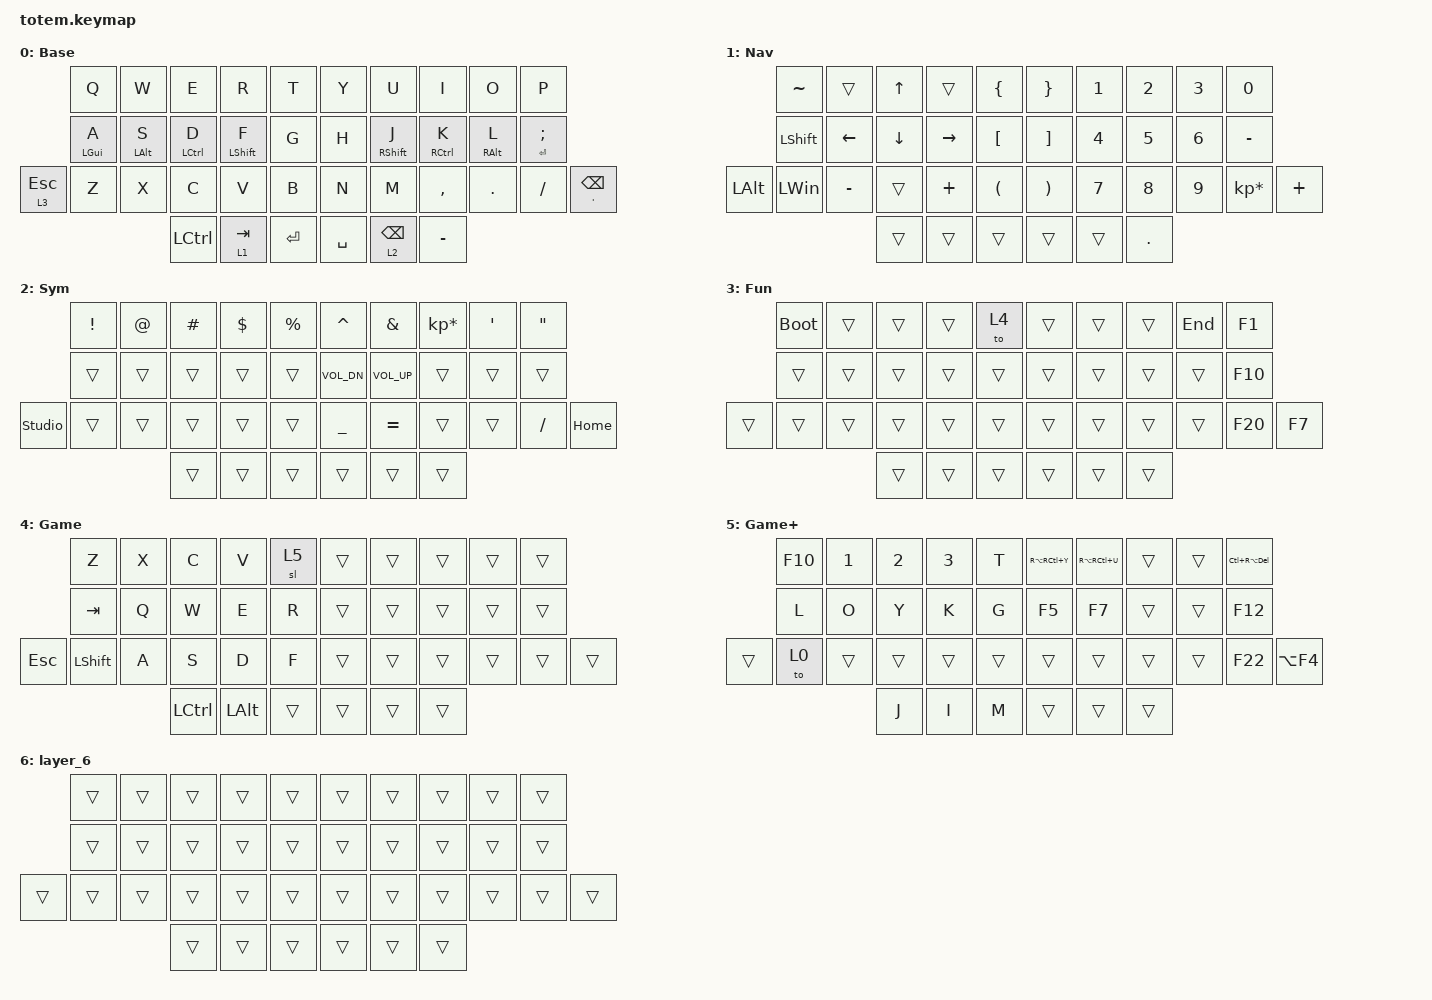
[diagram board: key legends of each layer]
//
//                                                        ▀▀▀▀▀     ▀▀▀▀▀          ▀▀█▀▀
//                                                        ▄▀▀▀▄  ▄  ▄▀▀▀▄  ▄  ▄▀▀▀▄  █  ▄▀▀▀▄
//                                                        █   █  █  █   █  █  █   █  █  █   █
//                                                         ▀▀▀   █   ▀▀▀   █   ▀▀▀   ▀   ▀▀▀
//                                                               █      ▄▄▄█▄▄▄    █   █  
//                                                               ▀      █  █  █     █▄█
//                                                             ▀▀▀▀▀    █  █  █      ▀
//                                                                      ▀  ▀  ▀
//
// ▄▄▄▄▄▄▄▄▄▄▄▄▄▄▄▄▄▄▄▄▄▄▄▄▄▄▄▄▄▄▄▄▄▄▄▄▄▄▄▄▄▄▄▄▄▄▄▄▄▄▄▄▄▄▄▄▄▄▄▄▄▄▄▄▄▄▄▄▄▄▄▄▄▄▄▄▄▄▄▄▄▄▄▄▄▄▄▄▄▄▄▄▄▄▄▄▄▄▄▄▄▄▄▄▄▄▄▄▄▄▄▄▄▄▄▄▄▄▄▄▄▄▄▄▄▄▄▄▄▄▄▄▄▄▄▄▄▄▄▄▄▄▄▄▄▄▄▄▄

#include <behaviors.dtsi>
#include <dt-bindings/zmk/keys.h>

#define Base        0
#define Nav         1
#define Sym         2
#define Fun         3
#define Game        4
#define Gameplus    5

&mt {
    quick-tap-ms = <100>;
    global-quick-tap;
    flavor = "tap-preferred";
    tapping-term-ms = <170>;
};

&lt {
    tapping-term-ms = <240>;
    flavor = "balanced";
    quick-tap-ms = <150>;
};

/ {
    behaviors {
        hm: homerow_mods {
            compatible = "zmk,behavior-hold-tap";
            label = "HOMEROW_MODS";
            #binding-cells = <2>;
            flavor = "tap-preferred";
            tapping-term-ms = <200>;
            quick-tap-ms = <125>;
            global-quick-tap;
            bindings = <&kp>, <&kp>;
        };
    };

    combos { compatible = "zmk,combos"; };

    keymap {
        compatible = "zmk,keymap";

        Base {
            display-name = "Base";
            bindings = <
              &kp Q       &kp W       &kp E        &kp R         &kp T        &kp Y      &kp U        &kp I        &kp O       &kp P
              &hm LGUI A  &hm LALT S  &hm LCTRL D  &hm LSHIFT F  &kp G        &kp H      &hm RSHFT J  &hm RCTRL K  &hm RALT L  &hm ENTER SEMICOLON
&lt 3 ESCAPE  &kp Z       &kp X       &kp C        &kp V         &kp B        &kp N      &kp M        &kp COMMA    &kp DOT     &kp SLASH            &hm APOSTROPHE BACKSPACE
                                      &kp LCTRL    &lt 1 TAB     &kp ENTER    &kp SPACE  &lt 2 BSPC   &kp MINUS
            >;
        };

        Nav {
            display-name = "Nav";
            bindings = <
              &kp TILDE       &trans     &kp UP_ARROW  &trans     &kp LBRC    &kp RBRC  &kp NUMBER_1  &kp NUMBER_2  &kp NUMBER_3  &kp NUMBER_0
              &kp LEFT_SHIFT  &kp LEFT   &kp DOWN      &kp RIGHT  &kp LBKT    &kp RBKT  &kp NUMBER_4  &kp NUMBER_5  &kp NUMBER_6  &kp MINUS
&kp LEFT_ALT  &kp LEFT_WIN    &kp MINUS  &trans        &kp PLUS   &kp LPAR    &kp RPAR  &kp N7        &kp N8        &kp N9        &kp KP_MULTIPLY  &kp PLUS
                                         &trans        &trans     &trans      &trans    &trans        &kp DOT
            >;
        };

        Sym {
            display-name = "Sym";
            bindings = <
                &kp EXCL  &kp AT  &kp HASH  &kp DOLLAR  &kp PERCENT    &kp CARET     &kp AMPERSAND    &kp KP_ASTERISK  &kp SQT  &kp DQT
                &trans    &trans  &trans    &trans      &trans         &kp C_VOL_DN  &kp C_VOLUME_UP  &trans           &trans   &trans
&studio_unlock  &trans    &trans  &trans    &trans      &trans         &kp UNDER     &kp EQUAL        &trans           &trans   &kp SLASH  &kp HOME
                                  &trans    &trans      &trans         &trans        &trans           &trans
            >;
        };

        Fun {
            display-name = "Fun";
            bindings = <
        &bootloader  &trans  &trans  &trans  &to 4     &trans  &trans  &trans  &kp END  &kp F1
        &trans       &trans  &trans  &trans  &trans    &trans  &trans  &trans  &trans   &kp F10
&trans  &trans       &trans  &trans  &trans  &trans    &trans  &trans  &trans  &trans   &kp F20  &kp F7
                             &trans  &trans  &trans    &trans  &trans  &trans
            >;
        };

        Gaming {
            display-name = "Game";
            bindings = <
            &kp Z           &kp X  &kp C      &kp V         &sl 5     &trans  &trans  &trans  &trans  &trans
            &kp TAB         &kp Q  &kp W      &kp E         &kp R     &trans  &trans  &trans  &trans  &trans
&kp ESCAPE  &kp LEFT_SHIFT  &kp A  &kp S      &kp D         &kp F     &trans  &trans  &trans  &trans  &trans  &trans
                                   &kp LCTRL  &kp LEFT_ALT  &trans    &trans  &trans  &trans
            >;
        };

        Gaming+ {
            display-name = "Game+";
            bindings = <
        &kp F10  &kp NUMBER_1  &kp NUMBER_2  &kp NUMBER_3  &kp T     &kp RA(RC(Y))  &kp RA(RC(U))  &trans  &trans  &kp LC(RA(DEL))
        &kp L    &kp O         &kp Y         &kp K         &kp G     &kp F5         &kp F7         &trans  &trans  &kp F12
&trans  &to 0    &trans        &trans        &trans        &trans    &trans         &trans         &trans  &trans  &kp F22          &kp LA(F4)
                               &kp J         &kp I         &kp M     &trans         &trans         &trans
            >;
        };

        layer_6 {
            bindings = <
        &trans  &trans  &trans  &trans  &trans    &trans  &trans  &trans  &trans  &trans
        &trans  &trans  &trans  &trans  &trans    &trans  &trans  &trans  &trans  &trans
&trans  &trans  &trans  &trans  &trans  &trans    &trans  &trans  &trans  &trans  &trans  &trans
                        &trans  &trans  &trans    &trans  &trans  &trans
            >;
        };
    };
};
